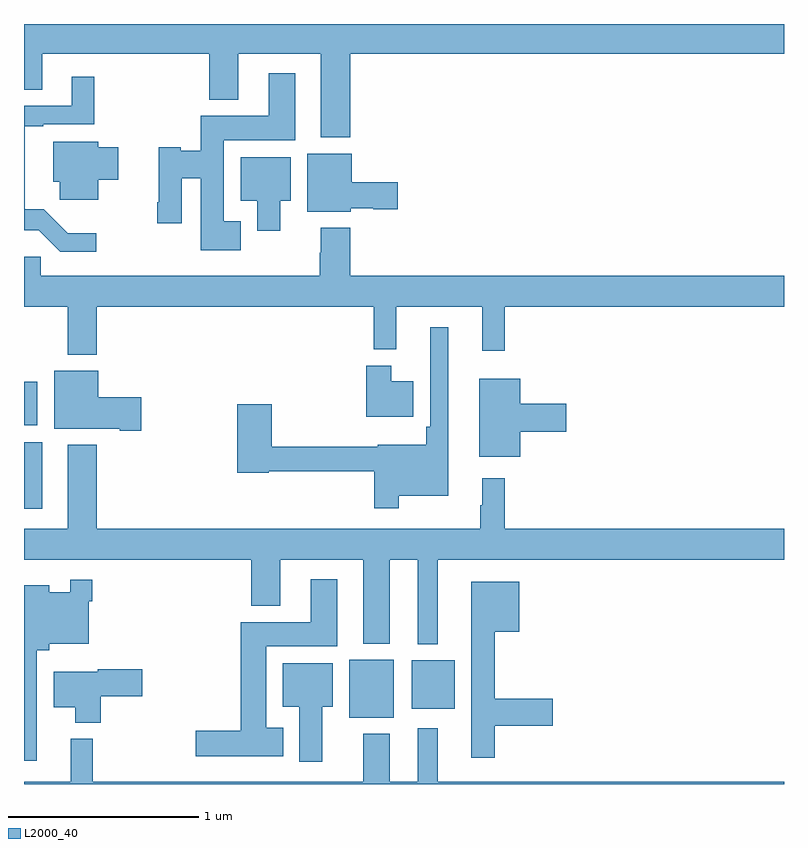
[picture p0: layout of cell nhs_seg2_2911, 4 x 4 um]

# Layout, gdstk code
import gdstk
lib = gdstk.Library(unit=1e-6, precision=1e-09)
def R(c, l, rs):  # rectangles x0, y0, x1, y1
    for r in rs: c.add(gdstk.rectangle(r[:2], r[2:], *l))
def P(c, l, *ps):  # polygons
    for p in ps: c.add(gdstk.Polygon(p, *l))
L2000_40 = (2000, 40)

nhs_seg2_2911 = lib.new_cell('nhs_seg2_2911')
R(nhs_seg2_2911, L2000_40, [(264.713,636.149,264.946,636.454), (265.04,636.197,265.267,636.451), (263,637.248,263.095,637.6), (263,637.688,263.071,637.918)])
P(nhs_seg2_2911, L2000_40, [(263,639.454),(263.095,639.454),(263.095,639.644),(263.975,639.644),(263.975,639.401),(264.127,639.401),(264.127,639.644),(264.563,639.644),(264.563,639.203),(264.716,639.203),(264.716,639.644),(267,639.644),(267,639.8),(263,639.8)],
  [(264.142,638.761),(264.052,638.761),(264.052,639.188),(264.427,639.188),(264.427,639.541),(264.287,639.541),(264.287,639.316),(263.93,639.316),(263.93,639.134),(263.826,639.134),(263.826,639.152),(263.708,639.152),(263.708,638.863),(263.701,638.863),(263.701,638.751),(263.83,638.751),(263.83,638.987),(263.93,638.987),(263.93,638.609),(264.142,638.609)],
  [(263.38,638.698),(263.231,638.698),(263.105,638.824),(263.005,638.824),(263.005,639.261),(263.101,639.261),(263.101,639.273),(263.369,639.273),(263.369,639.523),(263.252,639.523),(263.252,639.369),(263,639.369),(263,638.714),(263.077,638.714),(263.19,638.601),(263.38,638.601)],
  [(263.392,638.981),(263.497,638.981),(263.497,639.152),(263.392,639.152),(263.392,639.181),(263.153,639.181),(263.153,638.969),(263.189,638.969),(263.189,638.876),(263.392,638.876)],
  [(264.72,638.831),(264.837,638.831),(264.837,638.824),(264.967,638.824),(264.967,638.966),(264.724,638.966),(264.724,639.118),(264.491,639.118),(264.491,638.813),(264.72,638.813)],
  [(264.349,638.87),(264.403,638.87),(264.403,639.1),(264.14,639.1),(264.14,638.87),(264.227,638.87),(264.227,638.712),(264.349,638.712)],
  [(263.384,638.312),(264.841,638.312),(264.841,638.087),(264.959,638.087),(264.959,638.312),(265.412,638.312),(265.412,638.079),(265.529,638.079),(265.529,638.312),(267,638.312),(267,638.476),(264.716,638.476),(264.716,638.728),(264.563,638.728),(264.563,638.597),(264.556,638.597),(264.556,638.476),(263.089,638.476),(263.089,638.574),(263,638.574),(263,638.312),(263.231,638.312),(263.231,638.06),(263.384,638.06)],
  [(264.973,637.316),(265.234,637.316),(265.234,638.203),(265.137,638.203),(265.137,637.681),(265.117,637.681),(265.117,637.585),(264.863,637.585),(264.863,637.574),(264.305,637.574),(264.305,637.798),(264.122,637.798),(264.122,637.438),(264.288,637.438),(264.288,637.446),(264.844,637.446),(264.844,637.251),(264.973,637.251)],
  [(265.048,637.921),(264.934,637.921),(264.934,638.002),(264.8,638.002),(264.8,637.733),(265.048,637.733)],
  [(263.617,637.836),(263.392,637.836),(263.392,637.975),(263.159,637.975),(263.159,637.67),(263.504,637.67),(263.504,637.658),(263.617,637.658)],
  [(265.612,637.655),(265.855,637.655),(265.855,637.802),(265.612,637.802),(265.612,637.933),(265.397,637.933),(265.397,637.523),(265.612,637.523)],
  [(265.177,636.98),(267,636.98),(267,637.144),(265.529,637.144),(265.529,637.408),(265.412,637.408),(265.412,637.268),(265.401,637.268),(265.401,637.144),(263.384,637.144),(263.384,637.585),(263.231,637.585),(263.231,637.144),(263,637.144),(263,636.98),(264.197,636.98),(264.197,636.737),(264.349,636.737),(264.349,636.98),(264.785,636.98),(264.785,636.539),(264.925,636.539),(264.925,636.98),(265.073,636.98),(265.073,636.536),(265.177,636.536)],
  [(264.364,636.097),(264.274,636.097),(264.274,636.524),(264.649,636.524),(264.649,636.877),(264.509,636.877),(264.509,636.652),(264.14,636.652),(264.14,636.08),(263.904,636.08),(263.904,635.945),(264.364,635.945)],
  [(263.067,636.503),(263.134,636.503),(263.134,636.539),(263.34,636.539),(263.34,636.761),(263.36,636.761),(263.36,636.874),(263.244,636.874),(263.244,636.808),(263.134,636.808),(263.134,636.847),(263,636.847),(263,635.922),(263.067,635.922)],
  [(265.477,636.106),(265.783,636.106),(265.783,636.248),(265.477,636.248),(265.477,636.602),(265.606,636.602),(265.606,636.865),(265.355,636.865),(265.355,635.937),(265.477,635.937)],
  [(264.571,636.206),(264.625,636.206),(264.625,636.436),(264.362,636.436),(264.362,636.206),(264.449,636.206),(264.449,635.916),(264.571,635.916)],
  [(263.405,636.262),(263.623,636.262),(263.623,636.404),(263.388,636.404),(263.388,636.391),(263.156,636.391),(263.156,636.203),(263.27,636.203),(263.27,636.122),(263.405,636.122)],
  [(267,635.812),(265.177,635.812),(265.177,636.094),(265.073,636.094),(265.073,635.812),(264.925,635.812),(264.925,636.064),(264.785,636.064),(264.785,635.812),(263.363,635.812),(263.363,636.037),(263.246,636.037),(263.246,635.812),(263,635.812),(263,635.8),(267,635.8)])

lib.write_gds('nhs_seg2_2911.gds')
